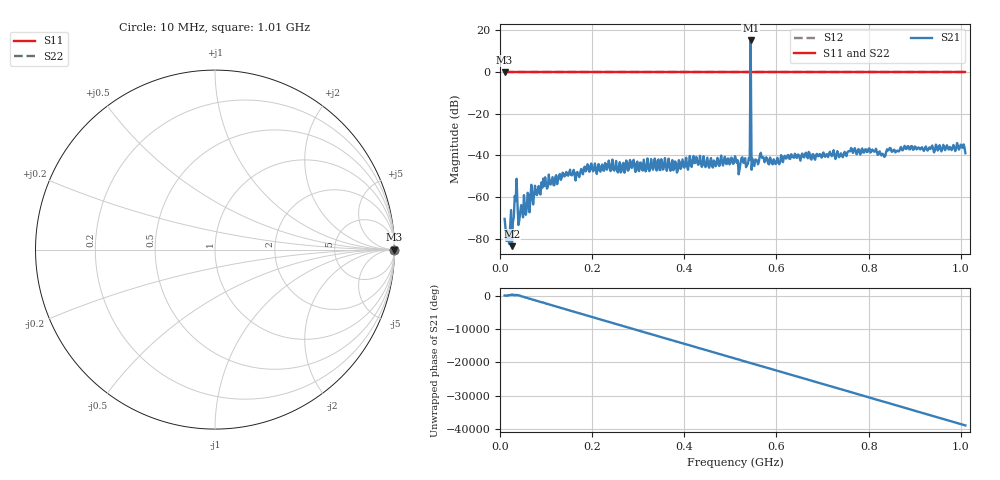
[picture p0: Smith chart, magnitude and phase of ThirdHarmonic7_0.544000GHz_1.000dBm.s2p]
! 8/17/2025 4:24:01 PM
! C:\ANRITSUVNA\TEMP\TEMP.S2P
! CHANNEL.1
! TR.MEASUREMENT
! RAW.DATA
! RF.CORRECTION.OFF
! AVERAGING.OFF
! IF.BANDWIDTH: 5KHZ
! SWEEPTYPE:  FREQ.SWEEP(Linear)
! Reference Plane Port Info
! PORT:  PORT1  PORT2
! DISTANCE:  0  m  0  m
! TIME:  0  s  0  s
! PHASE.OFFSET:  0  deg.  0  deg.
! LOSS:  0  dB  0  dB
! REF.LOSS:  0  dB  0  dB
! REF.FREQ:  0  Hz  0  Hz
! Power Info
! POWER:  -20  dBm  -20  dBm
! EFF.POWER:  -20  dBm  -20  dBm
! SOURCE.ATTEN:  0  dB  0  dB
! TEST.ATTEN:  0  dB  0  dB
# GHZ S RI R 50.0
! FREQ.GHZ  S11RE  S11IM  S21RE  S21IM  S12RE  S12IM  S22RE  S22IM
!; PortSelection: Port_12
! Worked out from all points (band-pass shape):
!   501 points, 10 MHz to 1.01 GHz, reference 50 ohm
!   highest |S21| = 15.20 dB at 544 MHz (marker M1); lowest = -83.5 dB at 26 MHz (marker M2)
!   |S21| within 3 dB of the highest: 543.895 MHz to 544.0967 MHz (201.7 kHz wide, 0.0371 % of centre)
!   lowest |S11| = 0.0 dB at 10 MHz (marker M3)
!   |S11| at or under -10 dB: nowhere
!   |S22| runs from 0.0 to 0.0 dB; largest |S21 - S12| = 5.6
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0.01  1 0  0.0003 3.02e-05  1 0  1 0
0.016  1 0  -2.29e-05 -0.00016  1 0  1 0
0.026  1 0  -5.4e-05 3.91e-05  1 0  1 0
0.034  1 0  -0.000727 -0.000351  1 0  1 0
0.044  1 0  -2.8e-06 -0.000453  1 0  1 0
0.094  1 0  0.00104 0.00259  1 0  1 0
0.178  1 0  -0.00393 -0.00111  1 0  1 0
0.286  1 0  -0.00491 0.00106  1 0  1 0
0.344  1 0  0.00785 -0.00181  1 0  1 0
0.51  1 0  -0.00895 -0.0035  1 0  1 0
0.538  1 0  -0.00611 0.00116  1 0  1 0
0.54  1 0  0.00184 0.0085  1 0  1 0
0.544  1 0  1.391 -5.585  1 0  1 0
0.548  1 0  -0.00386 0.00736  1 0  1 0
0.55  1 0  0.00626 0.00267  1 0  1 0
0.568  1 0  0.00754 0.00478  1 0  1 0
0.594  1 0  0.00187 0.00789  1 0  1 0
0.678  1 0  0.00762 -0.00739  1 0  1 0
0.766  1 0  0.0112 0.00265  1 0  1 0
0.832  1 0  -0.00544 -0.00896  1 0  1 0
0.844  1 0  -0.00924 0.00992  1 0  1 0
1.01  1 0  0.00336 -0.0108  1 0  1 0
